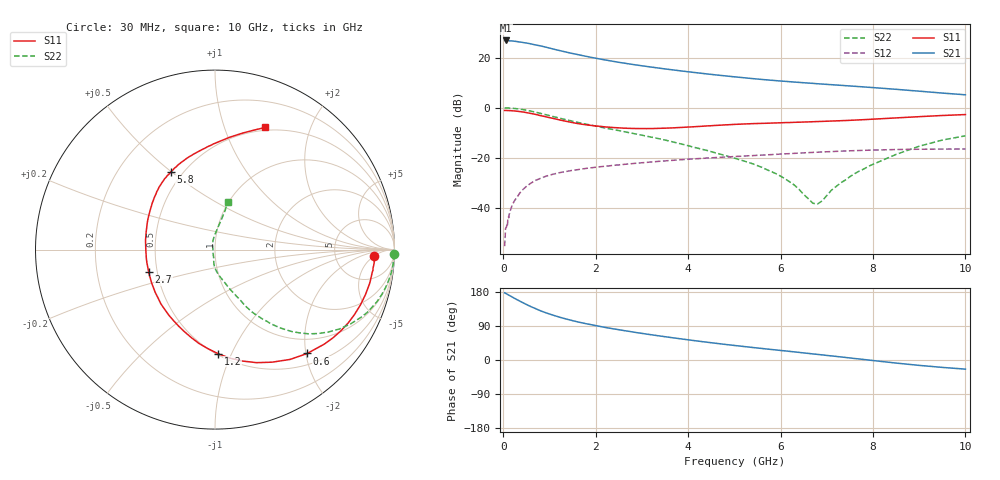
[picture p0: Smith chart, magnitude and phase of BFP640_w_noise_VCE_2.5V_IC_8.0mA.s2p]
! Infineon Technologies  Discrete & RF Semiconductors
! BFP640
! VCE =  2.5 V,  IC =  8.0 mA
! Common Emitter S-Parameters:  Apr 2013
# GHz  S  MA  R  50
!  f  S11  S21  S12  S22
! GHz  MAG  ANG  MAG  ANG  MAG  ANG  MAG  ANG
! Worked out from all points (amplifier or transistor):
!   99 points, 30 MHz to 10 GHz, reference 50 ohm
!   highest |S21| = 27.0 dB at 50 MHz (marker M1)
!   |S21| within 3 dB of that: start of sweep to 990.1 MHz
!   unconditionally stable (mu >= 1): 4.176 GHz to end of sweep
!   at 350 MHz: K = 0.11, MSG = 30.4 dB, |S12| = -34.3 dB
!   at 3.5 GHz: K = 0.94, MSG = 18.4 dB, |S12| = -21.2 dB
!   at 10 GHz: K = 1.11, MAG = 8.8 dB, |S12| = -16.5 dB
!   lowest NFmin = 0.60 dB at 450 MHz
!   S11 on the Smith chart (normalised r, x): 30 MHz: 15, -5; 600 MHz: 0.70, -2.03; 1.2 GHz: 0.51, -0.89; 2.7 GHz: 0.45, -0.13; 5.8 GHz: 0.43, +0.49; 10 GHz: 0.47, +1.38
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0.03  0.8887 -2.4  22.23 177.3  0.0017 108.9  0.995 -1.4
0.05  0.8893 -4.1  22.44 176.2  0.0038 79.4  0.9977 -2.6
0.11  0.8843 -9.2  22.29 171.9  0.0065 80.8  0.9944 -5.6
0.2  0.875 -16.6  21.88 165.8  0.0117 82.5  0.9819 -10.3
0.3  0.8575 -24.9  21.33 159.1  0.0163 78.3  0.961 -15.3
0.4  0.8344 -32.9  20.67 152.7  0.0219 74.0  0.9321 -20.1
0.5  0.8053 -40.8  19.98 146.6  0.0267 70.2  0.8994 -24.6
0.6  0.7739 -48.4  19.13 140.8  0.0312 67.1  0.8608 -28.8
0.8  0.7033 -63.1  17.54 130.2  0.0386 60.1  0.7799 -36.1
1  0.6389 -76.3  15.8 121.4  0.045 54.9  0.7013 -42.0
1.2  0.5802 -88.3  14.22 113.7  0.05 50.7  0.6301 -46.6
1.4  0.5307 -99.6  12.88 107.0  0.054 47.3  0.5695 -50.1
1.7  0.4715 -115.6  11.24 98.2  0.0598 43.7  0.493 -54.1
2.2  0.4162 -139.7  9.16 86.1  0.0677 38.7  0.3963 -59.7
2.7  0.3903 -161.1  7.667 76.0  0.0751 35.2  0.3222 -63.0
3.4  0.3905 172.4  6.21 63.2  0.0855 30.5  0.2383 -69.0
4.2  0.4236 148.3  5.042 50.1  0.0962 25.0  0.1568 -79.0
5.1  0.4712 130.0  4.109 37.0  0.1072 19.2  0.0924 -92.0
5.8  0.4968 119.9  3.579 27.8  0.116 14.9  0.0531 -97.8
6.7  0.5288 108.3  3.099 16.1  0.1284 8.4  0.0123 -161.2
8.5  0.6305 82.7  2.357 -8.1  0.1467 -7.0  0.117 83.5
10  0.7355 67.7  1.831 -24.1  0.1504 -17.5  0.2759 75.3
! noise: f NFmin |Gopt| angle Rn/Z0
0.45  0.6  0.33  11  0.07
0.9  0.61  0.32  18  0.07
1.5  0.64  0.29  30  0.07
1.9  0.67  0.23  49  0.08
2.4  0.72  0.21  58  0.08
3.5  0.84  0.17  76  0.09
5.5  1.07  0.23  -139  0.1
10  1.69  0.6  -62  0.41
